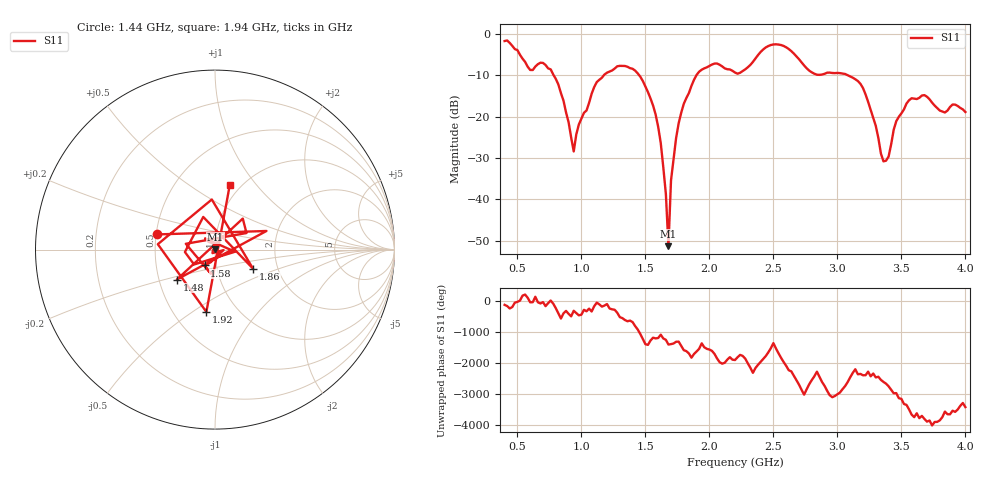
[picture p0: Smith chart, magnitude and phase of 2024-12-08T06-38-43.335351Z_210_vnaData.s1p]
!Created with skrf (http://scikit-rf.org).
# Hz S RI R 50.0
!freq ReS11 ImS11
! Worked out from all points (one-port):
!   181 points, 400 MHz to 4 GHz, reference 50 ohm
!   lowest |S11| = -51.4 dB at 1.68 GHz (marker M1), VSWR 1.01, Z = 50.2 + j0.169 ohm
!   |S11| at or under -10 dB: 783.8 MHz to 1.175 GHz (391.2 MHz wide, 39.9 % of centre); 1.452 GHz to 1.898 GHz (446.3 MHz wide, 26.6 % of centre); 3.082 GHz to end of sweep
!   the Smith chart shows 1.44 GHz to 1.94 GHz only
!   S11 on the Smith chart (normalised r, x): 1.44 GHz: 0.51, +0.10; 1.48 GHz: 0.62, -0.22; 1.58 GHz: 0.88, -0.16; 1.86 GHz: 1.49, -0.33; 1.92 GHz: 0.72, -0.57; 1.94 GHz: 0.89, +0.74
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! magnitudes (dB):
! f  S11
! 400 MHz  -1.7
! 600 MHz  -8.7
! 760 MHz  -8.6
! 860 MHz  -16.1
! 940 MHz  -28.4
! 980 MHz  -21.9
! 1.12 GHz  -11.6
! 1.3 GHz  -7.7
! 1.44 GHz  -9.5
! 1.48 GHz  -11.4
! 1.58 GHz  -19.5
! 1.64 GHz  -32.3
! 1.66 GHz  -38.7
! 1.68 GHz  -51.4
! 1.7 GHz  -35.5
! 1.76 GHz  -21.6
! 1.86 GHz  -12.5
! 1.92 GHz  -9.1
! 1.94 GHz  -8.6
! 2.2 GHz  -9.3
! 2.48 GHz  -2.7
! 2.66 GHz  -4.7
! 2.82 GHz  -9.6
! 3.1 GHz  -10.3
! 3.22 GHz  -14.6
! 3.36 GHz  -30.8
! 3.56 GHz  -16.0
! 4 GHz  -18.9
